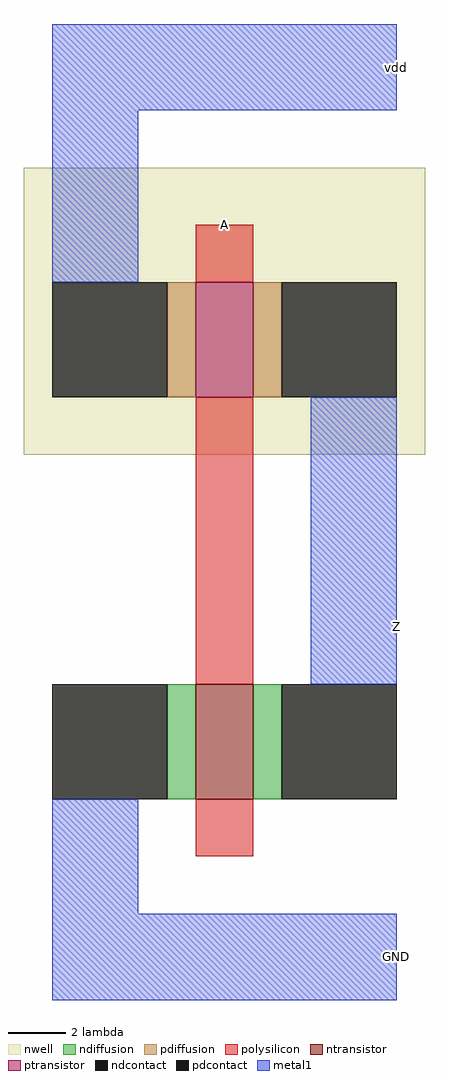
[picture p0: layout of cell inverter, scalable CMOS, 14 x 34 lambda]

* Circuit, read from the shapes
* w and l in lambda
.subckt inverter A GND Z vdd
M1 Z A GND VSUBS nfet w=4 l=2
M2 Z A vdd n1 pfet w=4 l=2
.ends

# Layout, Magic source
magic
tech scmos
<< nwell >>
rect -5 10 9 20
<< polysilicon >>
rect 1 16 3 18
rect 1 2 3 12
rect 1 -4 3 -2
<< ndiffusion >>
rect 0 -2 1 2
rect 3 -2 4 2
<< pdiffusion >>
rect 0 12 1 16
rect 3 12 4 16
<< metal1 >>
rect -4 22 8 25
rect -4 16 -1 22
rect 5 2 8 12
rect -4 -6 -1 -2
rect -4 -9 8 -6
<< ntransistor >>
rect 1 -2 3 2
<< ptransistor >>
rect 1 12 3 16
<< ndcontact >>
rect -4 -2 0 2
rect 4 -2 8 2
<< pdcontact >>
rect -4 12 0 16
rect 4 12 8 16
<< labels >>
rlabel metal1 8 3 8 5 3 Z
rlabel polysilicon 1 18 3 18 1 A
rlabel metal1 8 22 8 25 6 vdd
rlabel metal1 8 -9 8 -6 8 GND
<< end >>
